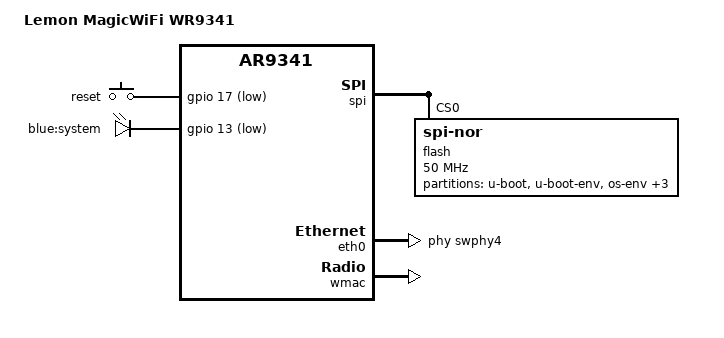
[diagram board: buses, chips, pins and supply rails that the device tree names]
// SPDX-License-Identifier: GPL-2.0-or-later OR MIT

#include "ar9341.dtsi"

#include <dt-bindings/gpio/gpio.h>
#include <dt-bindings/input/input.h>

/ {
	model = "Lemon MagicWiFi WR9341";
	compatible = "lemon,magicwifi-wr9341", "qca,ar9341";

	aliases {
		led-boot = &led_system;
		led-failsafe = &led_system;
		led-running = &led_system;
		led-upgrade = &led_system;
		label-mac-device = &eth0;
	};

	keys {
		compatible = "gpio-keys";

		reset {
			label = "reset";
			linux,code = <KEY_RESTART>;
			gpios = <&gpio 17 GPIO_ACTIVE_LOW>;
		};
	};

	leds {
		compatible = "gpio-leds";

		pinctrl-names = "default";
		pinctrl-0 = <&led_wan_pin>;

		led_system: system {
			label = "blue:system";
			gpios = <&gpio 13 GPIO_ACTIVE_LOW>;
		};
	};
};

&pinmux {
	/* GPIO 18: LED_LINK_5 (WAN) */
	led_wan_pin: pinmux_led_wan_pin {
		pinctrl-single,bits = <0x10 0x2d0000 0xff0000>;
	};
};

&ref {
	clock-frequency = <40000000>;
};

&spi {
	status = "okay";

	flash@0 {
		compatible = "jedec,spi-nor";
		reg = <0>;
		spi-max-frequency = <50000000>;
		m25p,fast-read;

		partitions {
			compatible = "fixed-partitions";
			#address-cells = <1>;
			#size-cells = <1>;

			uboot: partition@0 {
				label = "u-boot";
				reg = <0x0 0x40000>;
			/*	read-only;	*/
			};

			partition@40000 {
				label = "u-boot-env";
				reg = <0x40000 0x10000>;
			/*	read-only;	*/
			};

			partition@50000 {
				label = "os-env";
				reg = <0x50000 0x10000>;
			/*	read-only;	*/
			};

			partition@60000 {
				compatible = "denx,uimage";
				label = "firmware";
				reg = <0x60000 0xf80000>;
			};

			partition@fe0000 {
				label = "productinfo";
				reg = <0xfe0000 0x10000>;
			/*	read-only;	*/
			};

			art: partition@ff0000 {
				label = "art";
				reg = <0xff0000 0x10000>;
			/*	read-only;	*/

				compatible = "nvmem-cells";
				#address-cells = <1>;
				#size-cells = <1>;

				macaddr_art_1002: macaddr@1002 {
					reg = <0x1002 0x6>;
				};
			};
		};
	};
};

&eth0 {
	status = "okay";

	phy-handle = <&swphy4>;

	nvmem-cells = <&macaddr_art_1002>;
	nvmem-cell-names = "mac-address";
	mac-address-increment = <1>;
};

&eth1 {
	status = "okay";

	compatible = "qca,ar9340-eth", "syscon", "simple-mfd";

	nvmem-cells = <&macaddr_art_1002>;
	nvmem-cell-names = "mac-address";
};

&wmac {
	status = "okay";

	mtd-cal-data = <&art 0x1000>;
};
